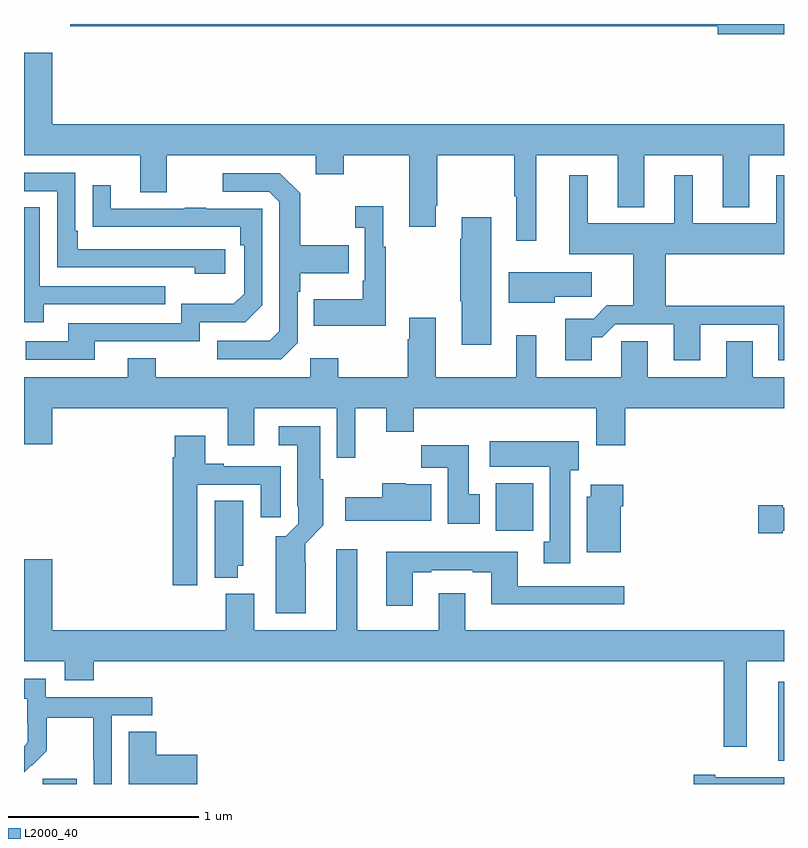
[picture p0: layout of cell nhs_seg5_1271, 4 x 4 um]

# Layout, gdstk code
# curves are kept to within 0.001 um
import gdstk
lib = gdstk.Library(unit=1e-6, precision=1e-09)
def R(c, l, rs):  # rectangles x0, y0, x1, y1
    for r in rs: c.add(gdstk.rectangle(r[:2], r[2:], *l))
def P(c, l, *ps):  # polygons
    for p in ps: c.add(gdstk.Polygon(p, *l))
L2000_40 = (2000, 40)

nhs_seg5_1271 = lib.new_cell('nhs_seg5_1271')
R(nhs_seg5_1271, L2000_40, [(189.098,838.799,189.277,838.827), (192.971,838.922,193,839.338), (191.483,840.132,191.679,840.382)])
P(nhs_seg5_1271, L2000_40, [(193,842.799),(189.244,842.799),(189.244,842.788),(192.65,842.788),(192.65,842.746),(193,842.746)],
  [(189.148,842.647),(189,842.647),(189,842.108),(189.611,842.108),(189.611,841.914),(189.751,841.914),(189.751,842.108),(190.535,842.108),(190.535,842.009),(190.683,842.009),(190.683,842.108),(191.027,842.108),(191.027,841.731),(191.167,841.731),(191.167,841.843),(191.175,841.843),(191.175,842.108),(191.581,842.108),(191.581,841.892),(191.591,841.892),(191.591,841.659),(191.695,841.659),(191.695,842.108),(192.125,842.108),(192.125,841.835),(192.265,841.835),(192.265,842.108),(192.677,842.108),(192.677,841.835),(192.817,841.835),(192.817,842.108),(193,842.108),(193,842.272),(189.148,842.272)],
  [(190.06,841.614),(189.283,841.614),(189.283,841.711),(189.27,841.711),(189.27,842.016),(189,842.016),(189,841.92),(189.174,841.92),(189.174,841.518),(189.899,841.518),(189.899,841.484),(190.06,841.484)],
  [(190.44,841.122),(190.44,841.391),(190.453,841.391),(190.453,841.487),(190.709,841.487),(190.709,841.635),(190.453,841.635),(190.453,841.907),(190.347,842.013),(190.047,842.013),(190.047,841.917),(190.29,841.917),(190.344,841.863),(190.344,841.182),(190.293,841.131),(190.017,841.131),(190.017,841.035),(190.353,841.035)],
  [(191.989,841.151),(192.044,841.151),(192.111,841.218),(192.419,841.218),(192.419,841.029),(192.559,841.029),(192.559,841.215),(192.971,841.215),(192.971,841.029),(193,841.029),(193,841.316),(192.377,841.316),(192.377,841.586),(193,841.586),(193,842.002),(192.959,842.002),(192.959,841.75),(192.52,841.75),(192.52,842.002),(192.422,842.002),(192.422,841.75),(191.968,841.75),(191.968,842.002),(191.87,842.002),(191.87,841.586),(192.206,841.586),(192.206,841.319),(192.068,841.319),(191.998,841.249),(191.849,841.249),(191.849,841.029),(191.989,841.029)],
  [(189.373,841.128),(189.924,841.128),(189.924,841.23),(190.164,841.23),(190.254,841.32),(190.254,841.827),(189.959,841.827),(189.959,841.832),(189.847,841.832),(189.847,841.827),(189.457,841.827),(189.457,841.951),(189.361,841.951),(189.361,841.732),(190.138,841.731),(190.138,841.634),(190.158,841.634),(190.158,841.38),(190.105,841.327),(189.828,841.327),(189.828,841.224),(189.233,841.224),(189.233,841.128),(189.009,841.128),(189.009,841.032),(189.373,841.032)],
  [(190.903,841.627),(190.891,841.627),(190.891,841.84),(190.743,841.84),(190.743,841.727),(190.794,841.727),(190.794,841.447),(190.782,841.447),(190.782,841.351),(190.525,841.351),(190.525,841.211),(190.903,841.211)],
  [(189.103,841.323),(189.743,841.323),(189.743,841.419),(189.084,841.419),(189.084,841.835),(189,841.835),(189,841.229),(189.103,841.229)],
  [(191.458,841.783),(191.303,841.783),(191.303,841.67),(191.296,841.67),(191.296,841.339),(191.303,841.339),(191.303,841.112),(191.458,841.112)],
  [(191.794,841.363),(191.989,841.363),(191.989,841.492),(191.55,841.492),(191.55,841.331),(191.794,841.331)],
  [(190.744,840.776),(190.907,840.776),(190.907,840.652),(191.051,840.652),(191.051,840.776),(192.011,840.776),(192.011,840.582),(192.164,840.582),(192.164,840.776),(193,840.776),(193,840.94),(192.835,840.94),(192.835,841.13),(192.695,841.13),(192.695,840.94),(192.283,840.94),(192.283,841.13),(192.144,841.13),(192.144,840.94),(191.695,840.94),(191.695,841.162),(191.591,841.162),(191.591,840.94),(191.167,840.94),(191.167,841.252),(191.027,841.252),(191.027,841.139),(191.02,841.139),(191.02,840.94),(190.653,840.94),(190.653,841.039),(190.506,841.039),(190.506,840.94),(189.693,840.94),(189.693,841.039),(189.545,841.039),(189.545,840.94),(189,840.94),(189,840.588),(189.148,840.588),(189.148,840.776),(190.073,840.776),(190.073,840.582),(190.213,840.582),(190.213,840.776),(190.647,840.776),(190.647,840.516),(190.744,840.516)],
  [(190.483,839.966),(190.479,839.966),(190.479,840.064),(190.576,840.161),(190.576,840.402),(190.558,840.402),(190.558,840.682),(190.341,840.682),(190.341,840.581),(190.439,840.581),(190.439,840.262),(190.443,840.262),(190.443,840.168),(190.377,840.102),(190.325,840.102),(190.325,839.699),(190.483,839.699)],
  [(189.913,840.375),(190.247,840.375),(190.247,840.204),(190.351,840.204),(190.351,840.471),(190.051,840.471),(190.051,840.484),(189.955,840.484),(189.955,840.631),(189.794,840.631),(189.794,840.518),(189.782,840.518),(189.782,839.844),(189.913,839.844)],
  [(191.875,840.45),(191.92,840.45),(191.92,840.604),(191.451,840.604),(191.451,840.47),(191.768,840.47),(191.768,840.073),(191.735,840.073),(191.735,839.961),(191.875,839.961)],
  [(191.398,840.324),(191.341,840.324),(191.341,840.583),(191.092,840.583),(191.092,840.464),(191.231,840.464),(191.231,840.168),(191.398,840.168)],
  [(191.143,840.376),(191.01,840.376),(191.01,840.382),(190.885,840.382),(190.885,840.307),(190.692,840.307),(190.692,840.185),(191.143,840.185)],
  [(192.142,840.26),(192.155,840.26),(192.155,840.373),(191.984,840.373),(191.984,840.312),(191.963,840.312),(191.963,840.02),(192.142,840.02)],
  [(190.126,839.949),(190.153,839.949),(190.153,840.29),(190.004,840.29),(190.004,839.885),(190.126,839.885)],
  [(192.993,840.131),(193,840.131),(193,840.253),(192.993,840.253),(192.993,840.266),(192.864,840.266),(192.864,840.119),(192.993,840.119)],
  [(192.805,839.444),(193,839.444),(193,839.608),(191.323,839.608),(191.323,839.803),(191.183,839.803),(191.183,839.608),(190.753,839.608),(190.753,840.034),(190.643,840.034),(190.643,839.608),(190.213,839.608),(190.213,839.8),(190.061,839.8),(190.061,839.608),(189.148,839.608),(189.148,839.983),(189,839.983),(189,839.444),(189.215,839.444),(189.215,839.345),(189.368,839.345),(189.368,839.444),(192.684,839.444),(192.684,838.995),(192.805,838.995)],
  [(191.047,839.913),(191.143,839.913),(191.143,839.925),(191.363,839.925),(191.363,839.913),(191.459,839.913),(191.459,839.744),(192.16,839.744),(192.16,839.841),(191.599,839.841),(191.599,840.022),(190.907,840.022),(190.907,839.736),(191.047,839.736)],
  [(189.462,839.16),(189.676,839.16),(189.676,839.256),(189.114,839.256),(189.114,839.353),(189,839.353),(189,839.249),(189.018,839.249),(189.018,839.115),(189.02,839.115),(189.02,839.018),(189,838.998),(189,838.86),(189.039,838.899),(189.042,838.896),(189.119,838.973),(189.119,839.148),(189.364,839.148),(189.364,838.924),(189.366,838.924),(189.366,838.799),(189.462,838.799)],
  [(189.913,838.952),(189.695,838.952),(189.695,839.075),(189.551,839.075),(189.551,838.799),(189.913,838.799)],
  [(193,838.834),(192.637,838.834),(192.637,838.847),(192.525,838.847),(192.525,838.799),(193,838.799)])

lib.write_gds('nhs_seg5_1271.gds')
